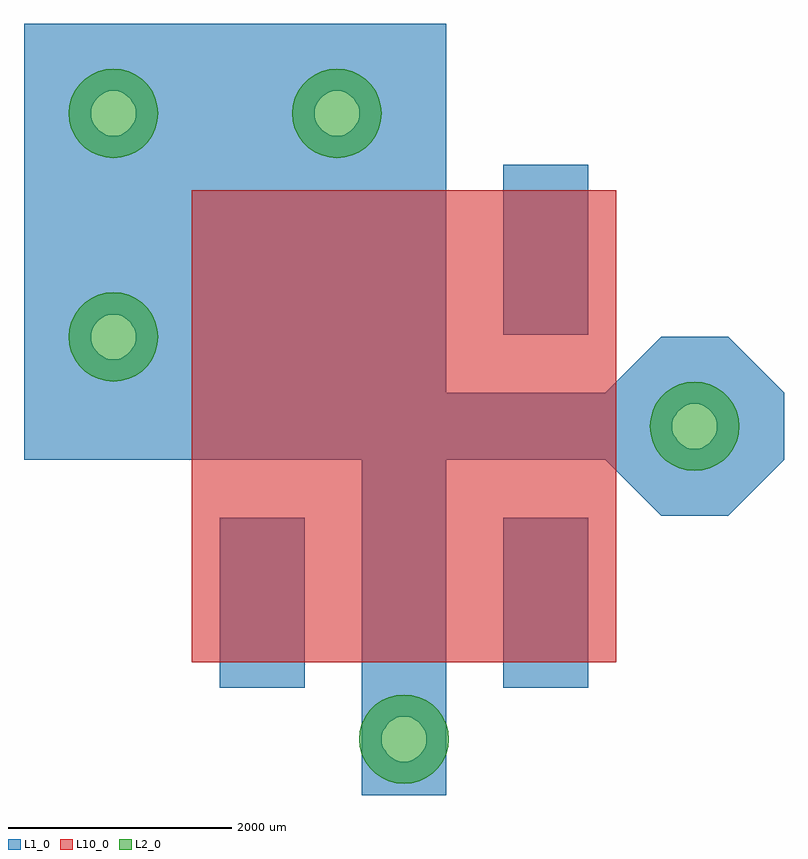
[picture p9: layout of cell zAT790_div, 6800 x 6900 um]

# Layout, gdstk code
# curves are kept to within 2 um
import gdstk
lib = gdstk.Library(unit=1e-6, precision=1e-09)
def R(c, l, rs):  # rectangles x0, y0, x1, y1
    for r in rs: c.add(gdstk.rectangle(r[:2], r[2:], *l))
def A(c, l, x, y, w, h, nx, ny, dx, dy):  # array of equal rectangles
    R(c, l, [(x+i*dx, y+j*dy, x+i*dx+w, y+j*dy+h) for i in range(nx) for j in range(ny)])
def P(c, l, *ps):  # polygons
    for p in ps: c.add(gdstk.Polygon(p, *l))
L1_0 = (1, 0)
L2_0 = (2, 0)
L10_0 = (10, 0)

zat790_div = lib.new_cell('zAT790_div')
A(zat790_div, L1_0, -1650, 820, 760, 1520, 3, 1, 1270, 0)
R(zat790_div, L1_0, [(-1650,-2340,-890,-820), (890,-2340,1650,-820)])
P(zat790_div, L1_0, [(-2730,650),(-2750,670),(-2790,730),(-2800,770),(-2800,830),(-2790,870),(-2750,930),(-2730,950),(-2670,990),(-2630,1000),(-2600,1000),(-2600,2600),(-2630,2600),(-2670,2610),(-2730,2650),(-2750,2670),(-2790,2730),(-2800,2770),(-2800,2830),(-2790,2870),(-2750,2930),(-2730,2950),(-2670,2990),(-2630,3000),(-2570,3000),(-2530,2990),(-2470,2950),(-2450,2930),(-2410,2870),(-2400,2830),(-2400,2770),(-2410,2730),(-2450,2670),(-2470,2650),(-2530,2610),(-2570,2600),(-2600,2600),(-2600,1000),(-2570,1000),(-2530,990),(-2470,950),(-2450,930),(-2410,870),(-2400,830),(-2400,770),(-2410,730),(-2450,670),(-2470,650),(-2530,610),(-2570,600),(-2600,600),(-2600,-300),(-600,-300),(-600,2600),(-630,2600),(-670,2610),(-730,2650),(-750,2670),(-790,2730),(-800,2770),(-800,2830),(-790,2870),(-750,2930),(-730,2950),(-670,2990),(-630,3000),(-570,3000),(-530,2990),(-470,2950),(-450,2930),(-410,2870),(-400,2830),(-400,2770),(-410,2730),(-450,2670),(-470,2650),(-530,2610),(-570,2600),(-600,2600),(-600,-300),(380,-300),(380,3600),(-3400,3600),(-3400,-300),(-2600,-300),(-2600,600),(-2630,600),(-2670,610)],
  [(-130,-2950),(-150,-2930),(-190,-2870),(-200,-2830),(-200,-2770),(-190,-2730),(-150,-2670),(-130,-2650),(-70,-2610),(-30,-2600),(30,-2600),(70,-2610),(130,-2650),(150,-2670),(190,-2730),(200,-2770),(200,-2830),(190,-2870),(150,-2930),(130,-2950),(70,-2990),(30,-3000),(0,-3000),(0,-3300),(380,-3300),(380,-300),(-380,-300),(-380,-3300),(0,-3300),(0,-3000),(-30,-3000),(-70,-2990)],
  [(2470,-150),(2450,-130),(2410,-70),(2400,-30),(2400,30),(2410,70),(2450,130),(2470,150),(2530,190),(2570,200),(2630,200),(2670,190),(2730,150),(2750,130),(2790,70),(2800,30),(2800,-30),(2790,-70),(2750,-130),(2730,-150),(2670,-190),(2630,-200),(2600,-200),(2600,-300),(3100,-300),(3100,300),(380,300),(380,-300),(2600,-300),(2600,-200),(2570,-200),(2530,-190)],
  [(2470,-150),(2450,-130),(2410,-70),(2400,-30),(2400,30),(2410,70),(2450,130),(2470,150),(2530,190),(2570,200),(2630,200),(2670,190),(2730,150),(2750,130),(2790,70),(2800,30),(2800,-30),(2790,-70),(2750,-130),(2730,-150),(2670,-190),(2630,-200),(2600,-200),(2600,-800),(2900,-800),(3400,-300),(3400,300),(2900,800),(2300,800),(1800,300),(1800,-300),(2300,-800),(2600,-800),(2600,-200),(2570,-200),(2530,-190)])
P(zat790_div, L2_0, [(-2200,800),(-2206.077,730.541),(-2224.123,663.192),(-2253.59,600),(-2293.582,542.885),(-2342.885,493.582),(-2400,453.59),(-2463.192,424.123),(-2530.541,406.077),(-2600,400),(-2669.459,406.077),(-2736.808,424.123),(-2800,453.59),(-2857.115,493.582),(-2906.418,542.885),(-2946.41,600),(-2975.877,663.192),(-2993.923,730.541),(-3000,800),(-2993.923,869.459),(-2975.877,936.808),(-2946.41,1000),(-2906.418,1057.115),(-2857.115,1106.418),(-2800,1146.41),(-2736.808,1175.877),(-2669.459,1193.923),(-2600,1200),(-2530.541,1193.923),(-2463.192,1175.877),(-2400,1146.41),(-2342.885,1106.418),(-2293.582,1057.115),(-2253.59,1000),(-2224.123,936.808),(-2206.077,869.459)],
  [(3000,0),(2993.923,-69.459),(2975.877,-136.808),(2946.41,-200),(2906.418,-257.115),(2857.115,-306.418),(2800,-346.41),(2736.808,-375.877),(2669.459,-393.923),(2600,-400),(2530.541,-393.923),(2463.192,-375.877),(2400,-346.41),(2342.885,-306.418),(2293.582,-257.115),(2253.59,-200),(2224.123,-136.808),(2206.077,-69.459),(2200,0),(2206.077,69.459),(2224.123,136.808),(2253.59,200),(2293.582,257.115),(2342.885,306.418),(2400,346.41),(2463.192,375.877),(2530.541,393.923),(2600,400),(2669.459,393.923),(2736.808,375.877),(2800,346.41),(2857.115,306.418),(2906.418,257.115),(2946.41,200),(2975.877,136.808),(2993.923,69.459)],
  [(400,-2800),(393.923,-2869.459),(375.877,-2936.808),(346.41,-3000),(306.418,-3057.115),(257.115,-3106.418),(200,-3146.41),(136.808,-3175.877),(69.459,-3193.923),(0,-3200),(-69.459,-3193.923),(-136.808,-3175.877),(-200,-3146.41),(-257.115,-3106.418),(-306.418,-3057.115),(-346.41,-3000),(-375.877,-2936.808),(-393.923,-2869.459),(-400,-2800),(-393.923,-2730.541),(-375.877,-2663.192),(-346.41,-2600),(-306.418,-2542.885),(-257.115,-2493.582),(-200,-2453.59),(-136.808,-2424.123),(-69.459,-2406.077),(0,-2400),(69.459,-2406.077),(136.808,-2424.123),(200,-2453.59),(257.115,-2493.582),(306.418,-2542.885),(346.41,-2600),(375.877,-2663.192),(393.923,-2730.541)],
  [(-200,2800),(-206.077,2730.541),(-224.123,2663.192),(-253.59,2600),(-293.582,2542.885),(-342.885,2493.582),(-400,2453.59),(-463.192,2424.123),(-530.541,2406.077),(-600,2400),(-669.459,2406.077),(-736.808,2424.123),(-800,2453.59),(-857.115,2493.582),(-906.418,2542.885),(-946.41,2600),(-975.877,2663.192),(-993.923,2730.541),(-1000,2800),(-993.923,2869.459),(-975.877,2936.808),(-946.41,3000),(-906.418,3057.115),(-857.115,3106.418),(-800,3146.41),(-736.808,3175.877),(-669.459,3193.923),(-600,3200),(-530.541,3193.923),(-463.192,3175.877),(-400,3146.41),(-342.885,3106.418),(-293.582,3057.115),(-253.59,3000),(-224.123,2936.808),(-206.077,2869.459)],
  [(-2200,2800),(-2206.077,2730.541),(-2224.123,2663.192),(-2253.59,2600),(-2293.582,2542.885),(-2342.885,2493.582),(-2400,2453.59),(-2463.192,2424.123),(-2530.541,2406.077),(-2600,2400),(-2669.459,2406.077),(-2736.808,2424.123),(-2800,2453.59),(-2857.115,2493.582),(-2906.418,2542.885),(-2946.41,2600),(-2975.877,2663.192),(-2993.923,2730.541),(-3000,2800),(-2993.923,2869.459),(-2975.877,2936.808),(-2946.41,3000),(-2906.418,3057.115),(-2857.115,3106.418),(-2800,3146.41),(-2736.808,3175.877),(-2669.459,3193.923),(-2600,3200),(-2530.541,3193.923),(-2463.192,3175.877),(-2400,3146.41),(-2342.885,3106.418),(-2293.582,3057.115),(-2253.59,3000),(-2224.123,2936.808),(-2206.077,2869.459)])
R(zat790_div, L10_0, [(-1900,-2110,1900,2110)])
zat790_div.add(gdstk.FlexPath([(890,2110),(1650,2110)], 0, ends="round", simple_path=True, layer=10, datatype=0))  # L10_0
zat790_div.add(gdstk.FlexPath([(1650,-2110),(890,-2110)], 0, ends="round", simple_path=True, layer=10, datatype=0))  # L10_0
zat790_div.add(gdstk.FlexPath([(-890,-2110),(-1650,-2110)], 0, ends="round", simple_path=True, layer=10, datatype=0))  # L10_0

lib.write_gds('zAT790_div.gds')
